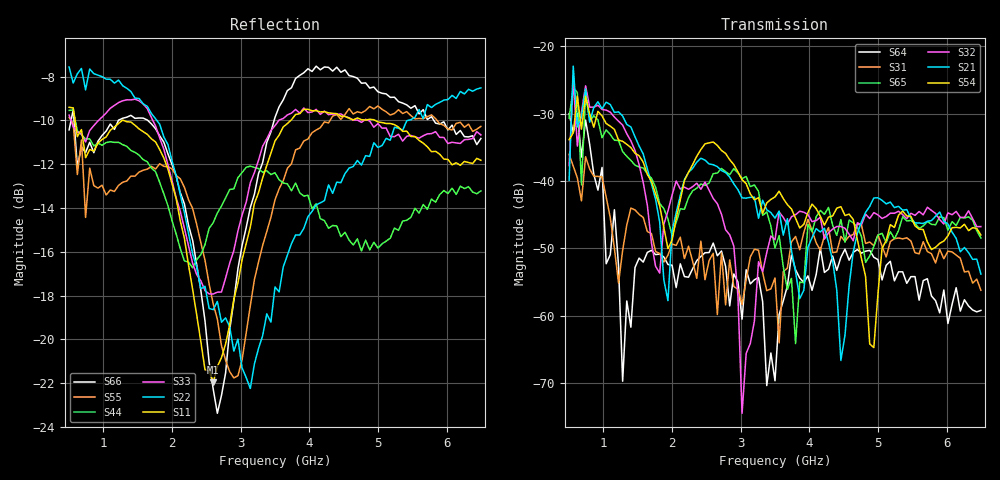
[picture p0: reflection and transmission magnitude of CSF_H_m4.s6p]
!Keysight Technologies,M9804A,MY58100912,A.14.10.03
!Date: Thursday, April 27, 2023 10:28:33
!Correction: S11(C  6-Port  )
!S12(C  6-Port  )
!S13(C  6-Port  )
!S14(C  6-Port  )
!S15(C  6-Port  )
!S16(C  6-Port  )
!S21(C  6-Port  )
!S22(C  6-Port  )
!S23(C  6-Port  )
!S24(C  6-Port  )
!S25(C  6-Port  )
!S26(C  6-Port  )
!S31(C  6-Port  )
!S32(C  6-Port  )
!S33(C  6-Port  )
!S34(C  6-Port  )
!S35(C  6-Port  )
!S36(C  6-Port  )
!S41(C  6-Port  )
!S42(C  6-Port  )
!S43(C  6-Port  )
!S44(C  6-Port  )
!S45(C  6-Port  )
!S46(C  6-Port  )
!S51(C  6-Port  )
!S52(C  6-Port  )
!S53(C  6-Port  )
!S54(C  6-Port  )
!S55(C  6-Port  )
!S56(C  6-Port  )
!S61(C  6-Port  )
!S62(C  6-Port  )
!S63(C  6-Port  )
!S64(C  6-Port  )
!S65(C  6-Port  )
!S66(C  6-Port  )
!S6P File: Measurement: :
# Hz S  RI  R 50
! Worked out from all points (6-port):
!   101 points, 500 MHz to 6.5 GHz, reference 50 ohm
!   strongest paths, dB at 500 MHz, 2 GHz, 3.5 GHz, 5 GHz, 6.5 GHz:
!     S54: -33.9, -48.8, -42.4, -56.8, -48.0
!     S21: -39.9, -47.4, -45.5, -42.5, -53.8
!     S32: -37.7, -42.1, -48.7, -45.0, -46.8
!     S65: -30.7, -48.1, -49.9, -48.0, -48.5
!     S31: -36.0, -49.4, -54.4, -48.0, -56.2
!     S64: -30.0, -52.5, -69.6, -51.7, -59.2
!   lowest |S11| = -22.0 dB at 2.6 GHz (marker M1), VSWR 1.17, Z = 42.8 + j1.9 ohm
!   |S11| at or under -10 dB: 586 MHz to 1.275 GHz (688.9 MHz wide, 74 % of centre); 1.29 GHz to 3.731 GHz (2.441 GHz wide, 97.2 % of centre); 4.957 GHz to end of sweep
